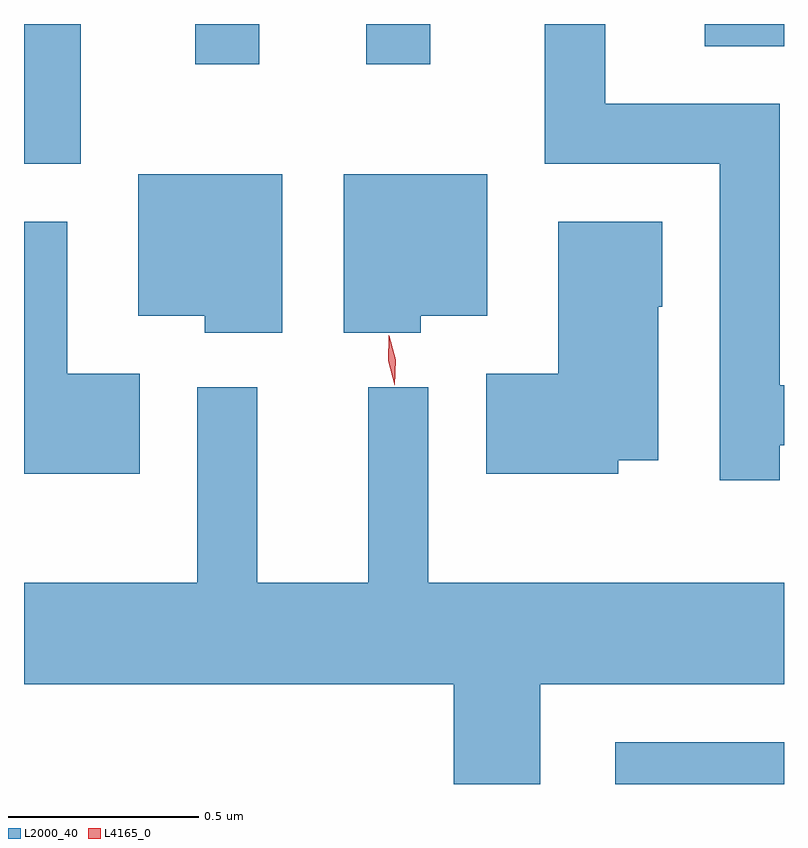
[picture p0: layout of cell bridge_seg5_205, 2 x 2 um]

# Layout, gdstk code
import gdstk
lib = gdstk.Library(unit=1e-6, precision=1e-09)
def R(c, l, rs):  # rectangles x0, y0, x1, y1
    for r in rs: c.add(gdstk.rectangle(r[:2], r[2:], *l))
def P(c, l, *ps):  # polygons
    for p in ps: c.add(gdstk.Polygon(p, *l))
L2000_40 = (2000, 40)
L4165_0 = (4165, 0)

bridge_seg5_205 = lib.new_cell('bridge_seg5_205')
R(bridge_seg5_205, L2000_40, [(1318.606,1418.794,1319.05,1418.904), (1317.05,1420.426,1317.199,1420.793), (1317.501,1420.688,1317.669,1420.794), (1317.951,1420.688,1318.119,1420.794), (1318.841,1420.736,1319.05,1420.794)])
P(bridge_seg5_205, L2000_40, [(1319.039,1419.686),(1319.05,1419.686),(1319.05,1419.844),(1319.039,1419.844),(1319.039,1420.584),(1318.579,1420.584),(1318.579,1420.793),(1318.421,1420.793),(1318.421,1420.426),(1318.881,1420.426),(1318.881,1419.593),(1319.039,1419.593)],
  [(1318.094,1420.026),(1318.269,1420.026),(1318.269,1420.399),(1317.891,1420.399),(1317.891,1419.981),(1318.094,1419.981)],
  [(1317.729,1420.399),(1317.351,1420.399),(1317.351,1420.026),(1317.526,1420.026),(1317.526,1419.981),(1317.729,1419.981)],
  [(1317.354,1419.874),(1317.164,1419.874),(1317.164,1420.274),(1317.05,1420.274),(1317.05,1419.611),(1317.354,1419.611)],
  [(1318.614,1419.646),(1318.719,1419.646),(1318.719,1420.05),(1318.729,1420.05),(1318.729,1420.274),(1318.456,1420.274),(1318.456,1419.874),(1318.266,1419.874),(1318.266,1419.611),(1318.614,1419.611)],
  [(1318.409,1419.056),(1319.05,1419.056),(1319.05,1419.324),(1318.114,1419.324),(1318.114,1419.838),(1317.956,1419.838),(1317.956,1419.324),(1317.664,1419.324),(1317.664,1419.838),(1317.506,1419.838),(1317.506,1419.324),(1317.05,1419.324),(1317.05,1419.056),(1318.181,1419.056),(1318.181,1418.794),(1318.409,1418.794)])
P(bridge_seg5_205, L4165_0, [(1318.025,1419.843),(1318.008,1419.908),(1318.01,1419.974),(1318.01,1419.975),(1318.011,1419.974),(1318.028,1419.91),(1318.026,1419.843),(1318.026,1419.843)])

lib.write_gds('bridge_seg5_205.gds')
